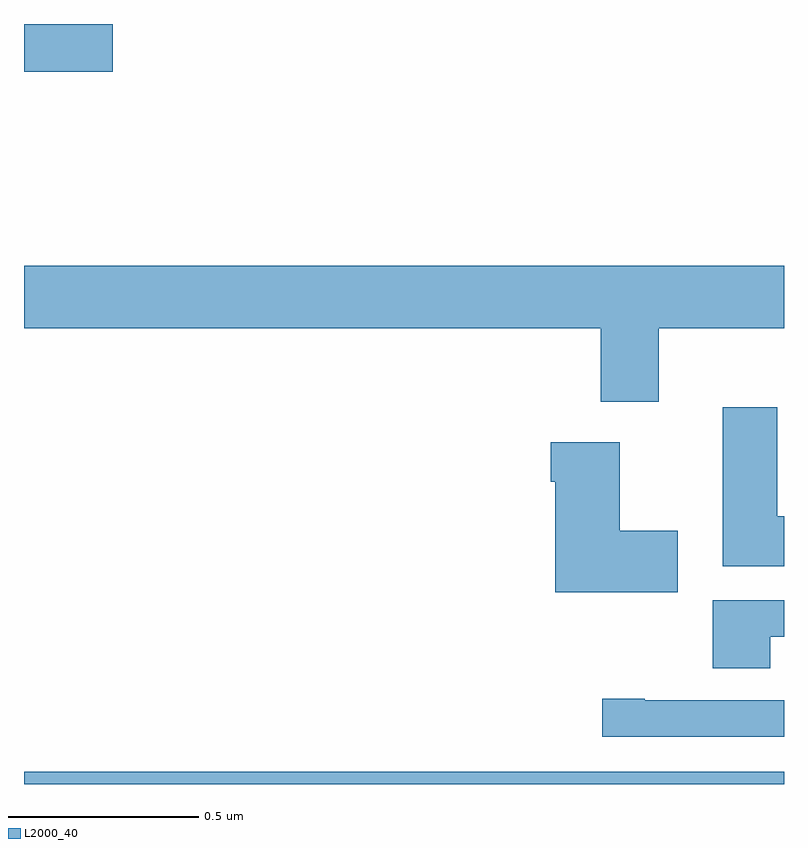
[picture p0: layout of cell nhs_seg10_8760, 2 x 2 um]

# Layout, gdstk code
import gdstk
lib = gdstk.Library(unit=1e-6, precision=1e-09)
def R(c, l, rs):  # rectangles x0, y0, x1, y1
    for r in rs: c.add(gdstk.rectangle(r[:2], r[2:], *l))
def P(c, l, *ps):  # polygons
    for p in ps: c.add(gdstk.Polygon(p, *l))
L2000_40 = (2000, 40)

nhs_seg10_8760 = lib.new_cell('nhs_seg10_8760')
R(nhs_seg10_8760, L2000_40, [(221,1248.5,223,1248.532), (221,1250.375,221.233,1250.5)])
P(nhs_seg10_8760, L2000_40, [(222.67,1249.7),(223,1249.7),(223,1249.864),(221,1249.864),(221,1249.7),(222.518,1249.7),(222.518,1249.506),(222.67,1249.506)],
  [(223,1249.204),(222.982,1249.204),(222.982,1249.492),(222.839,1249.492),(222.839,1249.073),(223,1249.073)],
  [(222.721,1249.167),(222.568,1249.167),(222.568,1249.399),(222.386,1249.399),(222.386,1249.295),(222.398,1249.295),(222.398,1249.004),(222.721,1249.004)],
  [(222.964,1248.888),(223,1248.888),(223,1248.984),(222.812,1248.984),(222.812,1248.805),(222.964,1248.805)],
  [(223,1248.72),(222.634,1248.72),(222.634,1248.725),(222.522,1248.725),(222.522,1248.624),(223,1248.624)])

lib.write_gds('nhs_seg10_8760.gds')
